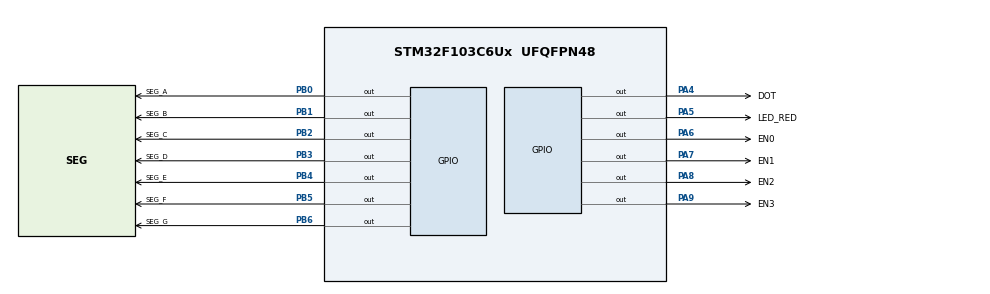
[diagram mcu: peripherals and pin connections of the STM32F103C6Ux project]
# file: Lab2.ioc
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Mcu.Family=STM32F1
Mcu.Name=STM32F103C6Ux
Mcu.Package=UFQFPN48
NVIC.PriorityGroup=NVIC_PRIORITYGROUP_4
NVIC.TIM2_IRQn=true\:0\:0\:false\:false\:true\:true\:true
PA4.GPIO_Label=DOT
PA4.Signal=GPIO_Output
PA5.GPIO_Label=LED_RED
PA5.Signal=GPIO_Output
PA6.GPIO_Label=EN0
PA6.Signal=GPIO_Output
PA7.GPIO_Label=EN1
PA7.Signal=GPIO_Output
PA8.GPIO_Label=EN2
PA8.Signal=GPIO_Output
PA9.GPIO_Label=EN3
PA9.Signal=GPIO_Output
PB0.GPIO_Label=SEG_A
PB0.Signal=GPIO_Output
PB1.GPIO_Label=SEG_B
PB1.Signal=GPIO_Output
PB2.GPIO_Label=SEG_C
PB2.Signal=GPIO_Output
PB3.GPIO_Label=SEG_D
PB3.Signal=GPIO_Output
PB4.GPIO_Label=SEG_E
PB4.Signal=GPIO_Output
PB5.GPIO_Label=SEG_F
PB5.Signal=GPIO_Output
PB6.GPIO_Label=SEG_G
PB6.Signal=GPIO_Output
ProjectManager.HeapSize=0x200
ProjectManager.StackSize=0x400
ProjectManager.TargetToolchain=STM32CubeIDE
RCC.APB1Freq_Value=8000000
RCC.APB2Freq_Value=8000000
TIM2.Period=9
TIM2.Prescaler=7999
VP_SYS_VS_ND.Mode=No_Debug
VP_TIM2_VS_ClockSourceINT.Mode=Internal
board=custom

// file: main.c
/* USER CODE BEGIN Header */
/**
  ******************************************************************************
  * @file           : main.c
  * @brief          : Main program body
  ******************************************************************************
  * @attention
  *
  * <h2><center>&copy; Copyright (c) 2022 STMicroelectronics.
  * All rights reserved.</center></h2>
  *
  * This software component is licensed by ST under BSD 3-Clause license,
  * the "License"; You may not use this file except in compliance with the
  * License. You may obtain a copy of the License at:
  *                        opensource.org/licenses/BSD-3-Clause
  *
  ******************************************************************************
  */
/* USER CODE END Header */
#include "main.h"

TIM_HandleTypeDef htim2;

void SystemClock_Config(void);
static void MX_GPIO_Init(void);
static void MX_TIM2_Init(void);

/* USER CODE BEGIN 0 */
int hour = 15, minute = 8, second = 50;
void updateClockBuffer();

int timer0_counter = 0;
int timer0_flag = 0;
int TIME_CYCLE = 10;

void setTimer0(int duration){
	timer0_counter = duration / TIME_CYCLE;
	timer0_flag = 0;
}

void timerRun(){
	if (timer0_counter > 0){
		timer0_counter--;
		if (timer0_counter <= 0)
			timer0_flag = 1;
	}
}
/* USER CODE END 0 */

int main(void)
{

  /* MCU Configuration--------------------------------------------------------*/

  /* Reset of all peripherals, Initializes the Flash interface and the Systick. */
  HAL_Init();

  /* Configure the system clock */
  SystemClock_Config();

  /* Initialize all configured peripherals */
  MX_GPIO_Init();
  MX_TIM2_Init();
  /* USER CODE BEGIN 2 */
  HAL_TIM_Base_Start_IT(& htim2);
  int trigger = 0;
  updateClockBuffer();
  setTimer0(10);
  /* USER CODE END 2 */

  /* Infinite loop */
  while (1)
  {
    /* USER CODE BEGIN 3 */
	  if (timer0_flag == 1){
	  	setTimer0(2000);
	  	HAL_GPIO_TogglePin(GPIOA, LED_RED_Pin);
	  }
	  second++;
	  if (second >= 60){
		second = 0;
		minute++;
		trigger = 1;
	  }
	  if (minute >= 60){
		minute = 0;
		hour++;
	  }
	  if (hour >= 24){
		hour = 0;
	  }
	  if (trigger == 1) {
		updateClockBuffer();
		trigger = 0;
	  }
	  HAL_Delay(1000);
	}
  /* USER CODE END 3 */
}

void SystemClock_Config(void)
{
  RCC_OscInitTypeDef RCC_OscInitStruct = {0};
  RCC_ClkInitTypeDef RCC_ClkInitStruct = {0};

  /** Initializes the RCC Oscillators according to the specified parameters
  * in the RCC_OscInitTypeDef structure.
  */
  RCC_OscInitStruct.OscillatorType = RCC_OSCILLATORTYPE_HSI;
  RCC_OscInitStruct.HSIState = RCC_HSI_ON;
  RCC_OscInitStruct.HSICalibrationValue = RCC_HSICALIBRATION_DEFAULT;
  RCC_OscInitStruct.PLL.PLLState = RCC_PLL_NONE;
  if (HAL_RCC_OscConfig(&RCC_OscInitStruct) != HAL_OK)
  {
    Error_Handler();
  }
  /** Initializes the CPU, AHB and APB buses clocks
  */
  RCC_ClkInitStruct.ClockType = RCC_CLOCKTYPE_HCLK|RCC_CLOCKTYPE_SYSCLK
                              |RCC_CLOCKTYPE_PCLK1|RCC_CLOCKTYPE_PCLK2;
  RCC_ClkInitStruct.SYSCLKSource = RCC_SYSCLKSOURCE_HSI;
  RCC_ClkInitStruct.AHBCLKDivider = RCC_SYSCLK_DIV1;
  RCC_ClkInitStruct.APB1CLKDivider = RCC_HCLK_DIV1;
  RCC_ClkInitStruct.APB2CLKDivider = RCC_HCLK_DIV1;

  if (HAL_RCC_ClockConfig(&RCC_ClkInitStruct, FLASH_LATENCY_0) != HAL_OK)
  {
    Error_Handler();
  }
}

static void MX_TIM2_Init(void)
{

  TIM_ClockConfigTypeDef sClockSourceConfig = {0};
  TIM_MasterConfigTypeDef sMasterConfig = {0};

  htim2.Instance = TIM2;
  htim2.Init.Prescaler = 7999;
  htim2.Init.CounterMode = TIM_COUNTERMODE_UP;
  htim2.Init.Period = 9;
  htim2.Init.ClockDivision = TIM_CLOCKDIVISION_DIV1;
  htim2.Init.AutoReloadPreload = TIM_AUTORELOAD_PRELOAD_DISABLE;
  if (HAL_TIM_Base_Init(&htim2) != HAL_OK)
  {
    Error_Handler();
  }
  sClockSourceConfig.ClockSource = TIM_CLOCKSOURCE_INTERNAL;
  if (HAL_TIM_ConfigClockSource(&htim2, &sClockSourceConfig) != HAL_OK)
  {
    Error_Handler();
  }
  sMasterConfig.MasterOutputTrigger = TIM_TRGO_RESET;
  sMasterConfig.MasterSlaveMode = TIM_MASTERSLAVEMODE_DISABLE;
  if (HAL_TIMEx_MasterConfigSynchronization(&htim2, &sMasterConfig) != HAL_OK)
  {
    Error_Handler();
  }

}

static void MX_GPIO_Init(void)
{
  GPIO_InitTypeDef GPIO_InitStruct = {0};

  /* GPIO Ports Clock Enable */
  __HAL_RCC_GPIOA_CLK_ENABLE();
  __HAL_RCC_GPIOB_CLK_ENABLE();

  /*Configure GPIO pin Output Level */
  HAL_GPIO_WritePin(GPIOA, DOT_Pin|LED_RED_Pin|EN0_Pin|EN1_Pin
                          |EN2_Pin|EN3_Pin, GPIO_PIN_RESET);

  /*Configure GPIO pin Output Level */
  HAL_GPIO_WritePin(GPIOB, SEG_A_Pin|SEG_B_Pin|SEG_C_Pin|SEG_D_Pin
                          |SEG_E_Pin|SEG_F_Pin|SEG_G_Pin, GPIO_PIN_RESET);

  /*Configure GPIO pins : DOT_Pin LED_RED_Pin EN0_Pin EN1_Pin
                           EN2_Pin EN3_Pin */
  GPIO_InitStruct.Pin = DOT_Pin|LED_RED_Pin|EN0_Pin|EN1_Pin
                          |EN2_Pin|EN3_Pin;
  GPIO_InitStruct.Mode = GPIO_MODE_OUTPUT_PP;
  GPIO_InitStruct.Pull = GPIO_NOPULL;
  GPIO_InitStruct.Speed = GPIO_SPEED_FREQ_LOW;
  HAL_GPIO_Init(GPIOA, &GPIO_InitStruct);

  /*Configure GPIO pins : SEG_A_Pin SEG_B_Pin SEG_C_Pin SEG_D_Pin
                           SEG_E_Pin SEG_F_Pin SEG_G_Pin */
  GPIO_InitStruct.Pin = SEG_A_Pin|SEG_B_Pin|SEG_C_Pin|SEG_D_Pin
                          |SEG_E_Pin|SEG_F_Pin|SEG_G_Pin;
  GPIO_InitStruct.Mode = GPIO_MODE_OUTPUT_PP;
  GPIO_InitStruct.Pull = GPIO_NOPULL;
  GPIO_InitStruct.Speed = GPIO_SPEED_FREQ_LOW;
  HAL_GPIO_Init(GPIOB, &GPIO_InitStruct);

}

/* USER CODE BEGIN 4 */
void display7Seg(int num){
	switch (num){
		case 0:{ // display 0 using leds: a, b, c, d, e, f
			HAL_GPIO_WritePin(GPIOB, SEG_A_Pin | SEG_B_Pin | SEG_C_Pin |
									SEG_D_Pin | SEG_E_Pin | SEG_F_Pin, 0);
			HAL_GPIO_WritePin(GPIOB, SEG_G_Pin, 1);
			break;
		}
		case 1:{ // display 1 using leds: b, c
			HAL_GPIO_WritePin(GPIOB, SEG_B_Pin | SEG_C_Pin, 0);
			HAL_GPIO_WritePin(GPIOB, SEG_A_Pin | SEG_D_Pin | SEG_E_Pin |
									SEG_F_Pin | SEG_G_Pin, 1);
			break;
		}
		case 2:{ // display 2 using leds: a, b, d, e, g
			HAL_GPIO_WritePin(GPIOB, SEG_A_Pin | SEG_B_Pin | SEG_D_Pin |
									SEG_E_Pin | SEG_G_Pin, 0);
			HAL_GPIO_WritePin(GPIOB, SEG_C_Pin | SEG_F_Pin, 1);
			break;
		}
		case 3:{ // display 3 using leds: a, b, c, d, g
			HAL_GPIO_WritePin(GPIOB, SEG_A_Pin | SEG_B_Pin | SEG_C_Pin |
									SEG_D_Pin | SEG_G_Pin, 0);
			HAL_GPIO_WritePin(GPIOB, SEG_E_Pin | SEG_F_Pin, 1);
			break;
		}
		case 4:{ // display 4 using leds: b, c, f, g
			HAL_GPIO_WritePin(GPIOB, SEG_B_Pin | SEG_C_Pin | SEG_F_Pin |
									SEG_G_Pin, 0);
			HAL_GPIO_WritePin(GPIOB, SEG_A_Pin | SEG_D_Pin | SEG_E_Pin, 1);
			break;
		}
		case 5:{ // display 5 using leds: a, c, d, f, g
			HAL_GPIO_WritePin(GPIOB, SEG_A_Pin | SEG_C_Pin | SEG_D_Pin |
									SEG_F_Pin | SEG_G_Pin, 0);
			HAL_GPIO_WritePin(GPIOB, SEG_B_Pin | SEG_E_Pin, 1);
			break;
		}
		case 6:{ // display 6 using leds: a, c, d, e, f, g
			HAL_GPIO_WritePin(GPIOB, SEG_A_Pin | SEG_C_Pin | SEG_D_Pin |
									SEG_E_Pin | SEG_F_Pin | SEG_G_Pin, 0);
			HAL_GPIO_WritePin(GPIOB, SEG_B_Pin, 1);
			break;
		}
		case 7:{ // diplay 7 using leds: a, b, c
			HAL_GPIO_WritePin(GPIOB, SEG_A_Pin | SEG_B_Pin | SEG_C_Pin, 0);
			HAL_GPIO_WritePin(GPIOB, SEG_D_Pin | SEG_E_Pin | SEG_F_Pin |
									SEG_G_Pin, 1);
			break;
		}
		case 8:{ // display 8 using leds: a, b, c, d, e, f, g
			HAL_GPIO_WritePin(GPIOB, SEG_A_Pin | SEG_B_Pin | SEG_C_Pin |
									SEG_D_Pin | SEG_E_Pin | SEG_F_Pin |
									SEG_G_Pin, 0);
			break;
		}
		case 9:{ // display 9 using leds: a, b, c, d, f, g
			HAL_GPIO_WritePin(GPIOB, SEG_A_Pin | SEG_B_Pin | SEG_C_Pin |
									SEG_D_Pin | SEG_F_Pin | SEG_G_Pin, 0);
			HAL_GPIO_WritePin(GPIOB, SEG_E_Pin, 1);
			break;
		}
	}
}

const int MAX_LED = 4;
int index_led = 0;
int led_buffer[4] = {0, 0, 0, 0};
void update7Seg(int index){
	switch (index){
		case 0: {	//enable 7-seg led 0, display led_buffer[0]
			HAL_GPIO_WritePin(GPIOA, EN0_Pin, 0);
			HAL_GPIO_WritePin(GPIOA, EN1_Pin | EN2_Pin | EN3_Pin, 1);
			display7Seg(led_buffer[0]);
			break;
		}
		case 1: {	//enable 7-seg led 1, display led_buffer[1]
			HAL_GPIO_WritePin(GPIOA, EN1_Pin, 0);
			HAL_GPIO_WritePin(GPIOA, EN3_Pin | EN2_Pin | EN0_Pin, 1);
			display7Seg(led_buffer[1]);
			break;
		}
		case 2: {	//enable 7-seg led 2, display led_buffer[2]
			HAL_GPIO_WritePin(GPIOA, EN2_Pin, 0);
			HAL_GPIO_WritePin(GPIOA, EN1_Pin | EN3_Pin | EN0_Pin, 1);
			display7Seg(led_buffer[2]);
			break;
		}
		case 3: {	//enable 7-seg led 3, display led_buffer[3]
			HAL_GPIO_WritePin(GPIOA, EN3_Pin, 0);
			HAL_GPIO_WritePin(GPIOA, EN1_Pin | EN2_Pin | EN0_Pin, 1);
			display7Seg(led_buffer[3]);
			break;
		}
	}
}

void updateClockBuffer(){
	led_buffer[0] = hour / 10; 	 	//get 1st digit of hour
	led_buffer[1] = hour % 10;  	//get 2nd digit of hour
	led_buffer[2] = minute / 10;	//get 1st digit of minute
	led_buffer[3] = minute % 10;	//get 2nd digit of minute
}

int count = 25;	//each 7seg led freq = 4Hz
int count_led = 100; //set time for led red PA5 = 100*10ms = 1000ms

void HAL_TIM_PeriodElapsedCallback(TIM_HandleTypeDef *htim){
	timerRun();
	if (count > 0){	//counter for 7-seg led
		count--;
		if (count <= 0){
			count = 50;
			update7Seg(index_led);
			index_led = (index_led + 1) % 4;	//limit index in range [0..3]
		}
	}

	if (count_led > 0){	//counter for led red PA5
		count_led--;
		if (count_led <= 0){
			count_led = 100;
			HAL_GPIO_TogglePin(GPIOA, DOT_Pin);
		}
	}
}
/* USER CODE END 4 */

void Error_Handler(void)
{
  __disable_irq();
  while (1)
  {
  }
}

/************************ (C) COPYRIGHT STMicroelectronics *****END OF FILE****/
